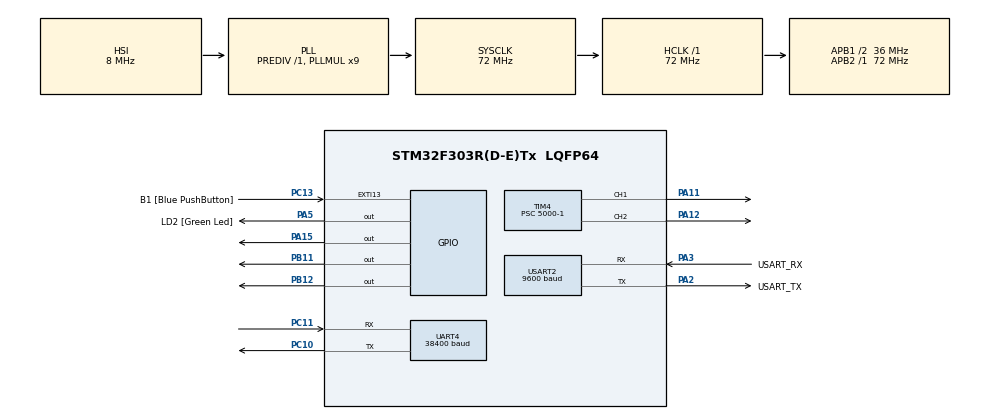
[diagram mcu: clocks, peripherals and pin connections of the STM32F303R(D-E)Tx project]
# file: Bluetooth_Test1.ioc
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Mcu.Family=STM32F3
Mcu.Name=STM32F303R(D-E)Tx
Mcu.Package=LQFP64
NVIC.PriorityGroup=NVIC_PRIORITYGROUP_0
NVIC.UART4_IRQn=true\:0\:0\:false\:false\:true\:true
NVIC.USART2_IRQn=true\:0\:0\:false\:false\:true\:true
PA11.GPIO_Speed=GPIO_SPEED_FREQ_HIGH
PA11.Signal=S_TIM4_CH1
PA12.GPIO_Speed=GPIO_SPEED_FREQ_HIGH
PA12.Signal=S_TIM4_CH2
PA13.GPIO_Label=TMS
PA13.Mode=Serial_Wire
PA13.Signal=SYS_JTMS-SWDIO
PA14.GPIO_Label=TCK
PA14.Mode=Serial_Wire
PA14.Signal=SYS_JTCK-SWCLK
PA15.PinState=GPIO_PIN_SET
PA15.Signal=GPIO_Output
PA2.GPIO_Label=USART_TX
PA2.GPIO_Mode=GPIO_MODE_AF_PP
PA2.GPIO_PuPd=GPIO_NOPULL
PA2.GPIO_Speed=GPIO_SPEED_FREQ_LOW
PA2.Mode=Asynchronous
PA2.Signal=USART2_TX
PA3.GPIO_Label=USART_RX
PA3.GPIO_Mode=GPIO_MODE_AF_PP
PA3.GPIO_PuPd=GPIO_NOPULL
PA3.GPIO_Speed=GPIO_SPEED_FREQ_LOW
PA3.Mode=Asynchronous
PA3.Signal=USART2_RX
PA5.GPIO_Label=LD2 [Green Led]
PA5.GPIO_Mode=GPIO_MODE_OUTPUT_PP
PA5.GPIO_PuPd=GPIO_NOPULL
PA5.GPIO_Speed=GPIO_SPEED_FREQ_LOW
PA5.Signal=GPIO_Output
PB11.Signal=GPIO_Output
PB12.Signal=GPIO_Output
PB3.GPIO_Label=SWO
PB3.Signal=SYS_JTDO-TRACESWO
PC10.Mode=Asynchronous
PC10.Signal=UART4_TX
PC11.Mode=Asynchronous
PC11.Signal=UART4_RX
PC13.GPIO_Label=B1 [Blue PushButton]
PC13.GPIO_ModeDefaultEXTI=GPIO_MODE_IT_FALLING
PC13.Signal=GPXTI13
PC14-OSC32_IN.Mode=LSE-External-Oscillator
PC14-OSC32_IN.Signal=RCC_OSC32_IN
PC15-OSC32_OUT.Mode=LSE-External-Oscillator
PC15-OSC32_OUT.Signal=RCC_OSC32_OUT
PF0-OSC_IN.Mode=HSE-External-Clock-Source
PF0-OSC_IN.Signal=RCC_OSC_IN
PF1-OSC_OUT.Signal=RCC_OSC_OUT
ProjectManager.HeapSize=0x200
ProjectManager.StackSize=0x400
ProjectManager.TargetToolchain=SW4STM32
RCC.AHBFreq_Value=72000000
RCC.APB1CLKDivider=RCC_HCLK_DIV2
RCC.APB1Freq_Value=36000000
RCC.APB1TimFreq_Value=72000000
RCC.APB2Freq_Value=72000000
RCC.APB2TimFreq_Value=72000000
RCC.CortexFreq_Value=72000000
RCC.HCLKFreq_Value=72000000
RCC.HSE_VALUE=8000000
RCC.HSI_VALUE=8000000
RCC.PLLM=8
RCC.PLLMUL=RCC_PLL_MUL9
RCC.PLLN=336
RCC.PLLP=RCC_PLLP_DIV4
RCC.PLLQ=7
RCC.RCC_PLLsource_Clock_Source_FROM_HSE=RCC_HSE_PREDIV_DIV2
RCC.SYSCLKFreq_VALUE=72000000
RCC.SYSCLKSourceVirtual=RCC_SYSCLKSOURCE_PLLCLK
RCC.USBFreq_Value=72000000
SH.S_TIM4_CH1.0=TIM4_CH1,PWM Generation1 CH1
SH.S_TIM4_CH2.0=TIM4_CH2,PWM Generation2 CH2
TIM4.Channel-PWM\ Generation1\ CH1=TIM_CHANNEL_1
TIM4.Channel-PWM\ Generation2\ CH2=TIM_CHANNEL_2
TIM4.OCFastMode_PWM-PWM\ Generation1\ CH1=TIM_OCFAST_DISABLE
TIM4.OCFastMode_PWM-PWM\ Generation2\ CH2=TIM_OCFAST_DISABLE
TIM4.OCMode_PWM-PWM\ Generation1\ CH1=TIM_OCMODE_PWM1
TIM4.OCMode_PWM-PWM\ Generation2\ CH2=TIM_OCMODE_PWM1
TIM4.Period=255-1
TIM4.Prescaler=5000-1
TIM4.Pulse-PWM\ Generation1\ CH1=0
TIM4.Pulse-PWM\ Generation2\ CH2=0
UART4.BaudRate=38400
USART2.BaudRate=9600
USART2.VirtualMode-Asynchronous=VM_ASYNC
USART2.WordLength=WORDLENGTH_8B
VP_TIM4_VS_ClockSourceINT.Mode=Internal
board=NUCLEO-F303RE

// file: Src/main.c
/**
  ******************************************************************************
  * @file           : main.c
  * @brief          : Main program body
  ******************************************************************************
  ** This notice applies to any and all portions of this file
  * that are not between comment pairs USER CODE BEGIN and
  * USER CODE END. Other portions of this file, whether
  * inserted by the user or by software development tools
  * are owned by their respective copyright owners.
  *
  * COPYRIGHT(c) 2018 STMicroelectronics
  *
  * Redistribution and use in source and binary forms, with or without modification,
  * are permitted provided that the following conditions are met:
  *   1. Redistributions of source code must retain the above copyright notice,
  *      this list of conditions and the following disclaimer.
  *   2. Redistributions in binary form must reproduce the above copyright notice,
  *      this list of conditions and the following disclaimer in the documentation
  *      and/or other materials provided with the distribution.
  *   3. Neither the name of STMicroelectronics nor the names of its contributors
  *      may be used to endorse or promote products derived from this software
  *      without specific prior written permission.
  *
  * THIS SOFTWARE IS PROVIDED BY THE COPYRIGHT HOLDERS AND CONTRIBUTORS "AS IS"
  * AND ANY EXPRESS OR IMPLIED WARRANTIES, INCLUDING, BUT NOT LIMITED TO, THE
  * IMPLIED WARRANTIES OF MERCHANTABILITY AND FITNESS FOR A PARTICULAR PURPOSE ARE
  * DISCLAIMED. IN NO EVENT SHALL THE COPYRIGHT HOLDER OR CONTRIBUTORS BE LIABLE
  * FOR ANY DIRECT, INDIRECT, INCIDENTAL, SPECIAL, EXEMPLARY, OR CONSEQUENTIAL
  * DAMAGES (INCLUDING, BUT NOT LIMITED TO, PROCUREMENT OF SUBSTITUTE GOODS OR
  * SERVICES; LOSS OF USE, DATA, OR PROFITS; OR BUSINESS INTERRUPTION) HOWEVER
  * CAUSED AND ON ANY THEORY OF LIABILITY, WHETHER IN CONTRACT, STRICT LIABILITY,
  * OR TORT (INCLUDING NEGLIGENCE OR OTHERWISE) ARISING IN ANY WAY OUT OF THE USE
  * OF THIS SOFTWARE, EVEN IF ADVISED OF THE POSSIBILITY OF SUCH DAMAGE.
  *
  ******************************************************************************
  */
#include "main.h"
#include "stm32f3xx_hal.h"

TIM_HandleTypeDef htim4;

UART_HandleTypeDef huart4;
UART_HandleTypeDef huart2;

/* USER CODE BEGIN PV */
/* Private variables ---------------------------------------------------------*/
uint8_t receivedBf[5];
#define L_WHEEL_TURN  GPIO_PIN_12
#define R_WHEEL_TURN GPIO_PIN_11

/* USER CODE END PV */

void SystemClock_Config(void);
static void MX_GPIO_Init(void);
static void MX_USART2_UART_Init(void);
static void MX_UART4_Init(void);
static void MX_TIM4_Init(void);
void HAL_TIM_MspPostInit(TIM_HandleTypeDef *htim);

/* USER CODE BEGIN PFP */
/* Private function prototypes -----------------------------------------------*/

/* USER CODE END PFP */

/* USER CODE BEGIN 0 */

void set_L(uint8_t turn, uint8_t speed){
	 if(turn == 0){
	        	HAL_GPIO_WritePin(GPIOB, L_WHEEL_TURN, GPIO_PIN_SET);
	        	TIM4->CCR2 = 255 - speed;
	        }
	        else{
	        	HAL_GPIO_WritePin(GPIOB, L_WHEEL_TURN, GPIO_PIN_RESET);
	        	TIM4->CCR2 = speed;
	        }
}

void set_R(uint8_t turn, uint8_t speed){
	 if(turn == 0){
	        	HAL_GPIO_WritePin(GPIOB, R_WHEEL_TURN, GPIO_PIN_RESET);
	        	TIM4->CCR1 = speed;
	        }
	        else{
	        	HAL_GPIO_WritePin(GPIOB, R_WHEEL_TURN, GPIO_PIN_SET);
	        	TIM4->CCR1 = 255 - speed;
	        }
}

void HAL_UART_RxCpltCallback(UART_HandleTypeDef *huart) {
    if (huart == &huart4) {
        set_L(receivedBf[3], receivedBf[2]);
        set_R(receivedBf[1], receivedBf[0]);

        HAL_UART_Receive_IT(huart, receivedBf, 4);
        HAL_GPIO_TogglePin(GPIOA, GPIO_PIN_5);
    }
}

/* USER CODE END 0 */

int main(void)
{

  /* MCU Configuration----------------------------------------------------------*/

  /* Reset of all peripherals, Initializes the Flash interface and the Systick. */
  HAL_Init();

  /* Configure the system clock */
  SystemClock_Config();

  /* Initialize all configured peripherals */
  MX_GPIO_Init();
  MX_USART2_UART_Init();
  MX_UART4_Init();
  MX_TIM4_Init();
  /* USER CODE BEGIN 2 */

    HAL_TIM_PWM_Start(&htim4, TIM_CHANNEL_1);
    HAL_TIM_PWM_Start(&htim4, TIM_CHANNEL_2);

    HAL_UART_Receive_IT(&huart4, receivedBf, 4); // Ponowne wġṗczenie nasġuchiwania
//  HAL_UART_Receive_IT(&huart2, receivedBtak jest na wartościachf, 10);
  /* USER CODE END 2 */

  /* Infinite loop */
  /* USER CODE BEGIN WHILE */
#pragma clang diagnostic push
#pragma clang diagnostic ignored "-Wmissing-noreturn"
    while (1) {
        HAL_GPIO_TogglePin(GPIOA, GPIO_PIN_5);
        HAL_Delay(500);
  /* USER CODE END WHILE */
  /* USER CODE BEGIN 3 */
    }
#pragma clang diagnostic pop
  /* USER CODE END 3 */

}

void SystemClock_Config(void)
{

  RCC_OscInitTypeDef RCC_OscInitStruct;
  RCC_ClkInitTypeDef RCC_ClkInitStruct;
  RCC_PeriphCLKInitTypeDef PeriphClkInit;

    /**Initializes the CPU, AHB and APB busses clocks
    */
  RCC_OscInitStruct.OscillatorType = RCC_OSCILLATORTYPE_HSI;
  RCC_OscInitStruct.HSIState = RCC_HSI_ON;
  RCC_OscInitStruct.HSICalibrationValue = 16;
  RCC_OscInitStruct.PLL.PLLState = RCC_PLL_ON;
  RCC_OscInitStruct.PLL.PLLSource = RCC_PLLSOURCE_HSI;
  RCC_OscInitStruct.PLL.PLLMUL = RCC_PLL_MUL9;
  RCC_OscInitStruct.PLL.PREDIV = RCC_PREDIV_DIV1;
  if (HAL_RCC_OscConfig(&RCC_OscInitStruct) != HAL_OK)
  {
    _Error_Handler(__FILE__, __LINE__);
  }

    /**Initializes the CPU, AHB and APB busses clocks
    */
  RCC_ClkInitStruct.ClockType = RCC_CLOCKTYPE_HCLK|RCC_CLOCKTYPE_SYSCLK
                              |RCC_CLOCKTYPE_PCLK1|RCC_CLOCKTYPE_PCLK2;
  RCC_ClkInitStruct.SYSCLKSource = RCC_SYSCLKSOURCE_PLLCLK;
  RCC_ClkInitStruct.AHBCLKDivider = RCC_SYSCLK_DIV1;
  RCC_ClkInitStruct.APB1CLKDivider = RCC_HCLK_DIV2;
  RCC_ClkInitStruct.APB2CLKDivider = RCC_HCLK_DIV1;

  if (HAL_RCC_ClockConfig(&RCC_ClkInitStruct, FLASH_LATENCY_2) != HAL_OK)
  {
    _Error_Handler(__FILE__, __LINE__);
  }

  PeriphClkInit.PeriphClockSelection = RCC_PERIPHCLK_USART2|RCC_PERIPHCLK_UART4
                              |RCC_PERIPHCLK_TIM34;
  PeriphClkInit.Usart2ClockSelection = RCC_USART2CLKSOURCE_PCLK1;
  PeriphClkInit.Uart4ClockSelection = RCC_UART4CLKSOURCE_PCLK1;
  PeriphClkInit.Tim34ClockSelection = RCC_TIM34CLK_HCLK;
  if (HAL_RCCEx_PeriphCLKConfig(&PeriphClkInit) != HAL_OK)
  {
    _Error_Handler(__FILE__, __LINE__);
  }

    /**Configure the Systick interrupt time
    */
  HAL_SYSTICK_Config(HAL_RCC_GetHCLKFreq()/1000);

    /**Configure the Systick
    */
  HAL_SYSTICK_CLKSourceConfig(SYSTICK_CLKSOURCE_HCLK);

  /* SysTick_IRQn interrupt configuration */
  HAL_NVIC_SetPriority(SysTick_IRQn, 0, 0);
}

/* TIM4 init function */
static void MX_TIM4_Init(void)
{

  TIM_ClockConfigTypeDef sClockSourceConfig;
  TIM_MasterConfigTypeDef sMasterConfig;
  TIM_OC_InitTypeDef sConfigOC;

  htim4.Instance = TIM4;
  htim4.Init.Prescaler = 5000-1;
  htim4.Init.CounterMode = TIM_COUNTERMODE_UP;
  htim4.Init.Period = 255-1;
  htim4.Init.ClockDivision = TIM_CLOCKDIVISION_DIV1;
  htim4.Init.AutoReloadPreload = TIM_AUTORELOAD_PRELOAD_DISABLE;
  if (HAL_TIM_Base_Init(&htim4) != HAL_OK)
  {
    _Error_Handler(__FILE__, __LINE__);
  }

  sClockSourceConfig.ClockSource = TIM_CLOCKSOURCE_INTERNAL;
  if (HAL_TIM_ConfigClockSource(&htim4, &sClockSourceConfig) != HAL_OK)
  {
    _Error_Handler(__FILE__, __LINE__);
  }

  if (HAL_TIM_PWM_Init(&htim4) != HAL_OK)
  {
    _Error_Handler(__FILE__, __LINE__);
  }

  sMasterConfig.MasterOutputTrigger = TIM_TRGO_RESET;
  sMasterConfig.MasterSlaveMode = TIM_MASTERSLAVEMODE_DISABLE;
  if (HAL_TIMEx_MasterConfigSynchronization(&htim4, &sMasterConfig) != HAL_OK)
  {
    _Error_Handler(__FILE__, __LINE__);
  }

  sConfigOC.OCMode = TIM_OCMODE_PWM1;
  sConfigOC.Pulse = 0;
  sConfigOC.OCPolarity = TIM_OCPOLARITY_HIGH;
  sConfigOC.OCFastMode = TIM_OCFAST_DISABLE;
  if (HAL_TIM_PWM_ConfigChannel(&htim4, &sConfigOC, TIM_CHANNEL_1) != HAL_OK)
  {
    _Error_Handler(__FILE__, __LINE__);
  }

  if (HAL_TIM_PWM_ConfigChannel(&htim4, &sConfigOC, TIM_CHANNEL_2) != HAL_OK)
  {
    _Error_Handler(__FILE__, __LINE__);
  }

  HAL_TIM_MspPostInit(&htim4);

}

/* UART4 init function */
static void MX_UART4_Init(void)
{

  huart4.Instance = UART4;
  huart4.Init.BaudRate = 38400;
  huart4.Init.WordLength = UART_WORDLENGTH_8B;
  huart4.Init.StopBits = UART_STOPBITS_1;
  huart4.Init.Parity = UART_PARITY_NONE;
  huart4.Init.Mode = UART_MODE_TX_RX;
  huart4.Init.HwFlowCtl = UART_HWCONTROL_NONE;
  huart4.Init.OverSampling = UART_OVERSAMPLING_16;
  huart4.Init.OneBitSampling = UART_ONE_BIT_SAMPLE_DISABLE;
  huart4.AdvancedInit.AdvFeatureInit = UART_ADVFEATURE_NO_INIT;
  if (HAL_UART_Init(&huart4) != HAL_OK)
  {
    _Error_Handler(__FILE__, __LINE__);
  }

}

/* USART2 init function */
static void MX_USART2_UART_Init(void)
{

  huart2.Instance = USART2;
  huart2.Init.BaudRate = 9600;
  huart2.Init.WordLength = UART_WORDLENGTH_8B;
  huart2.Init.StopBits = UART_STOPBITS_1;
  huart2.Init.Parity = UART_PARITY_NONE;
  huart2.Init.Mode = UART_MODE_TX_RX;
  huart2.Init.HwFlowCtl = UART_HWCONTROL_NONE;
  huart2.Init.OverSampling = UART_OVERSAMPLING_16;
  huart2.Init.OneBitSampling = UART_ONE_BIT_SAMPLE_DISABLE;
  huart2.AdvancedInit.AdvFeatureInit = UART_ADVFEATURE_NO_INIT;
  if (HAL_UART_Init(&huart2) != HAL_OK)
  {
    _Error_Handler(__FILE__, __LINE__);
  }

}

/** Configure pins as
        * Analog
        * Input
        * Output
        * EVENT_OUT
        * EXTI
*/
static void MX_GPIO_Init(void)
{

  GPIO_InitTypeDef GPIO_InitStruct;

  /* GPIO Ports Clock Enable */
  __HAL_RCC_GPIOC_CLK_ENABLE();
  __HAL_RCC_GPIOF_CLK_ENABLE();
  __HAL_RCC_GPIOA_CLK_ENABLE();
  __HAL_RCC_GPIOB_CLK_ENABLE();

  /*Configure GPIO pin Output Level */
  HAL_GPIO_WritePin(LD2_GPIO_Port, LD2_Pin, GPIO_PIN_RESET);

  /*Configure GPIO pin Output Level */
  HAL_GPIO_WritePin(GPIOB, GPIO_PIN_11|GPIO_PIN_12, GPIO_PIN_RESET);

  /*Configure GPIO pin Output Level */
  HAL_GPIO_WritePin(GPIOA, GPIO_PIN_15, GPIO_PIN_SET);

  /*Configure GPIO pin : B1_Pin */
  GPIO_InitStruct.Pin = B1_Pin;
  GPIO_InitStruct.Mode = GPIO_MODE_IT_FALLING;
  GPIO_InitStruct.Pull = GPIO_NOPULL;
  HAL_GPIO_Init(B1_GPIO_Port, &GPIO_InitStruct);

  /*Configure GPIO pins : LD2_Pin PA15 */
  GPIO_InitStruct.Pin = LD2_Pin|GPIO_PIN_15;
  GPIO_InitStruct.Mode = GPIO_MODE_OUTPUT_PP;
  GPIO_InitStruct.Pull = GPIO_NOPULL;
  GPIO_InitStruct.Speed = GPIO_SPEED_FREQ_LOW;
  HAL_GPIO_Init(GPIOA, &GPIO_InitStruct);

  /*Configure GPIO pins : PB11 PB12 */
  GPIO_InitStruct.Pin = GPIO_PIN_11|GPIO_PIN_12;
  GPIO_InitStruct.Mode = GPIO_MODE_OUTPUT_PP;
  GPIO_InitStruct.Pull = GPIO_NOPULL;
  GPIO_InitStruct.Speed = GPIO_SPEED_FREQ_LOW;
  HAL_GPIO_Init(GPIOB, &GPIO_InitStruct);

}

void _Error_Handler(char *file, int line)
{
    while (1) {
    }
}

/************************ (C) COPYRIGHT STMicroelectronics *****END OF FILE****/
